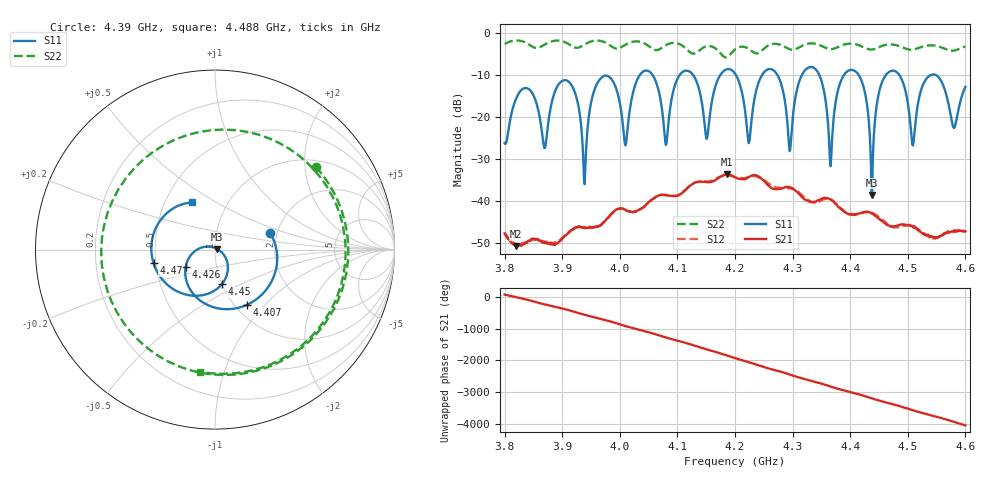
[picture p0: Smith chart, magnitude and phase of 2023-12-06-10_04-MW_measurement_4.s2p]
!Created with skrf (http://scikit-rf.org).
# Hz S RI R 50.0
!freq ReS11 ImS11 ReS21 ImS21 ReS12 ImS12 ReS22 ImS22
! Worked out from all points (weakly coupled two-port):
!   801 points, 3.8 GHz to 4.6 GHz, reference 50 ohm
!   highest |S21| = -33.64 dB at 4.186 GHz (marker M1); lowest = -50.7 dB at 3.82 GHz (marker M2)
!   lowest |S11| = -38.5 dB at 4.438 GHz (marker M3), VSWR 1.02, Z = 51.1 + j0.427 ohm
!   |S11| at or under -10 dB: start of sweep to 4.035 GHz; 4.485 GHz to 4.541 GHz (55.42 MHz wide, 1.23 % of centre); 4.548 GHz to end of sweep (the widest 3 of 9)
!   |S22| runs from -5.8 to -1.8 dB; largest |S21 - S12| = 0.0027
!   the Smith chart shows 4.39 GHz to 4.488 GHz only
!   S11 on the Smith chart (normalised r, x): 4.39 GHz: 1.84, +0.38; 4.407 GHz: 1.13, -0.80; 4.426 GHz: 0.71, -0.14; 4.45 GHz: 1.00, -0.40; 4.47 GHz: 0.49, -0.08; 4.488 GHz: 0.68, +0.39
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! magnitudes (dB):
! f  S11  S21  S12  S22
! 3.8 GHz  -26.2  -47.7  -47.5  -2.7
! 3.82 GHz  -15.6  -50.7  -50.4  -1.8
! 3.87 GHz  -27.4  -50.0  -49.6  -2.7
! 3.909 GHz  -11.4  -47.8  -47.7  -2.5
! 3.934 GHz  -23.9  -46.3  -46.2  -3.2
! 4.067 GHz  -13.5  -38.7  -38.7  -4.0
! 4.151 GHz  -25.2  -35.5  -35.3  -3.2
! 4.186 GHz  -8.7  -33.6  -33.9  -5.8
! 4.2 GHz  -9.7  -34.3  -34.3  -4.0
! 4.295 GHz  -28.1  -36.7  -36.9  -3.9
! 4.334 GHz  -8.2  -40.2  -40.3  -2.5
! 4.366 GHz  -31.7  -39.6  -39.6  -3.9
! 4.39 GHz  -9.9  -42.5  -42.4  -2.8
! 4.407 GHz  -9.0  -43.3  -43.2  -2.6
! 4.426 GHz  -14.5  -42.6  -42.5  -3.6
! 4.438 GHz  -38.5  -43.0  -42.8  -4.0
! 4.45 GHz  -14.2  -44.2  -43.7  -3.4
! 4.467 GHz  -9.3  -45.8  -45.8  -2.8
! 4.47 GHz  -9.1  -45.9  -46.0  -2.7
! 4.488 GHz  -10.7  -45.6  -46.1  -3.3
! 4.509 GHz  -26.8  -46.2  -46.0  -4.0
! 4.6 GHz  -12.8  -47.2  -47.2  -3.3
